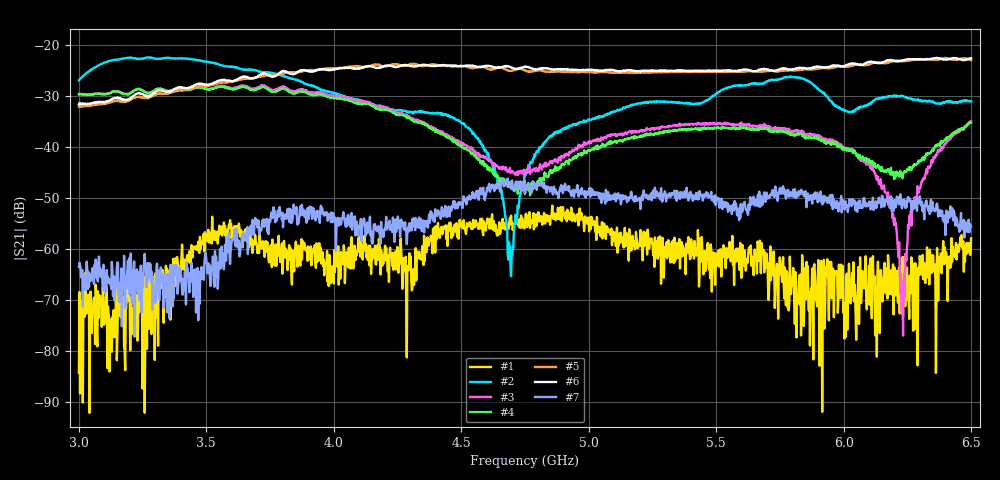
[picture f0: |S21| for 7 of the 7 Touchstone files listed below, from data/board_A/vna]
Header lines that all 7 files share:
! HEWLETT PACKARD,8720ES,MY41003347,7.72, via bringup/vna_tests.py
# HZ S RI R 50
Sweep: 3 GHz to 6.5 GHz
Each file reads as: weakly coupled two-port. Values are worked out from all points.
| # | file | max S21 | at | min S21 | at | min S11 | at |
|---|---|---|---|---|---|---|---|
| 1 | 2026-11-03_2045_rxant_rxmon_unpowered.s2p | -51.54 dB | 4.857 GHz | -92.2 dB | 3.042 GHz | -1.1 dB | 4.964 GHz |
| 2 | 2026-11-03_2059_txant_txmon_powered_null.s2p | -22.48 dB | 3.28 GHz | -65.4 dB | 4.695 GHz | -13.3 dB | 6.498 GHz |
| 3 | 2026-11-03_2109_sw_S1_ant_swrx_tra0_tx.s2p | -27.95 dB | 3.717 GHz | -77.0 dB | 6.233 GHz | -33.3 dB | 6.474 GHz |
| 4 | 2026-11-03_2115_sw_S2_ant_swtx_tra1_rx.s2p | -28.22 dB | 3.569 GHz | -49.6 dB | 4.77 GHz | -29.8 dB | 6.467 GHz |
| 5 | 2026-11-03_2119_sw_S3_p1swrx_p2swtx_antload_tra0_tx.s2p | -22.61 dB | 6.399 GHz | -32.2 dB | 3.009 GHz | -10.3 dB | 6.38 GHz |
| 6 | 2026-11-03_2119_sw_S3_p1swrx_p2swtx_antload_tra1_rx.s2p | -22.59 dB | 6.364 GHz | -31.7 dB | 3.031 GHz | -28.8 dB | 5.411 GHz |
| 7 | 2026-11-03_2159_link_cableA_dishA_room_dishB_cableB.s2p | -46.17 dB | 4.662 GHz | -77.2 dB | 3.219 GHz | -44.6 dB | 4.207 GHz |
